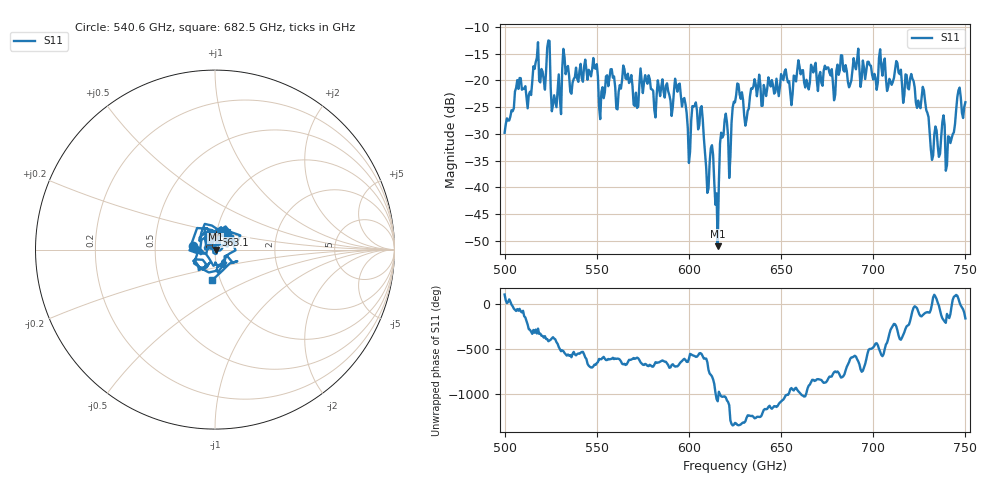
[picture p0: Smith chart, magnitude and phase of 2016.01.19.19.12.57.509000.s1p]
!Created with skrf (http://scikit-rf.org).
# GHz S RI R 50.0
!freq ReS11 ImS11
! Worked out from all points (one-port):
!   401 points, 500 GHz to 750 GHz, reference 50 ohm
!   lowest |S11| = -51.0 dB at 615.6 GHz (marker M1), VSWR 1.01, Z = 50.3 + j0.00252 ohm
!   |S11| at or under -10 dB: start of sweep to end of sweep
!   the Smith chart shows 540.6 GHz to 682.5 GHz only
!   S11 on the Smith chart (normalised r, x): 540.6 GHz: 0.78, +0.03; 563.1 GHz: 1.00, +0.17; 682.5 GHz: 0.91, -0.32
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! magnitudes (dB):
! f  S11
! 500 GHz  -29.8
! 507.5 GHz  -21.6
! 513.1 GHz  -22.7
! 516.9 GHz  -16.6
! 523.8 GHz  -12.5
! 526.9 GHz  -22.8
! 531.2 GHz  -17.9
! 540.6 GHz  -18.2
! 562.5 GHz  -20.9
! 563.1 GHz  -21.5
! 593.8 GHz  -22.1
! 600 GHz  -35.4
! 606.9 GHz  -24.8
! 609.4 GHz  -36.4
! 612.5 GHz  -32.1
! 615.6 GHz  -51.0
! 618.1 GHz  -30.7
! 622.5 GHz  -34.3
! 625 GHz  -24.1
! 656.2 GHz  -22.6
! 682.5 GHz  -15.3
! 687.5 GHz  -20.7
! 718.8 GHz  -21.4
! 727.5 GHz  -21.9
! 731.9 GHz  -34.9
! 740.6 GHz  -30.5
! 746.2 GHz  -21.8
! 750 GHz  -24.1
